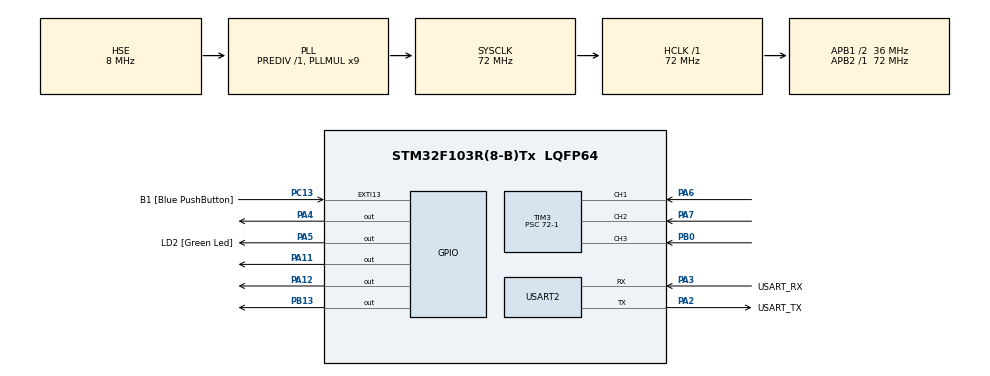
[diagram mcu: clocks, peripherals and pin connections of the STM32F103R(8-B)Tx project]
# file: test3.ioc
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Mcu.Family=STM32F1
Mcu.Name=STM32F103R(8-B)Tx
Mcu.Package=LQFP64
NVIC.EXTI15_10_IRQn=true\:0\:0\:false\:false\:true\:true\:true\:true
NVIC.PriorityGroup=NVIC_PRIORITYGROUP_4
NVIC.TIM1_UP_IRQn=true\:0\:0\:false\:false\:true\:true\:true\:true
NVIC.TIM3_IRQn=true\:0\:0\:false\:false\:true\:true\:true\:true
PA11.Signal=GPIO_Output
PA12.Signal=GPIO_Output
PA13.GPIO_Label=TMS
PA13.Mode=Serial_Wire
PA13.Signal=SYS_JTMS-SWDIO
PA14.GPIO_Label=TCK
PA14.Mode=Serial_Wire
PA14.Signal=SYS_JTCK-SWCLK
PA2.GPIO_Label=USART_TX
PA2.GPIO_Mode=GPIO_MODE_AF_PP
PA2.GPIO_PuPd=GPIO_NOPULL
PA2.GPIO_Speed=GPIO_SPEED_FREQ_LOW
PA2.Mode=Asynchronous
PA2.Signal=USART2_TX
PA3.GPIO_Label=USART_RX
PA3.GPIO_Mode=GPIO_MODE_AF_PP
PA3.GPIO_PuPd=GPIO_NOPULL
PA3.GPIO_Speed=GPIO_SPEED_FREQ_LOW
PA3.Mode=Asynchronous
PA3.Signal=USART2_RX
PA4.Signal=GPIO_Output
PA5.GPIO_Label=LD2 [Green Led]
PA5.GPIO_ModeDefaultOutputPP=GPIO_MODE_OUTPUT_PP
PA5.GPIO_PuPd=GPIO_NOPULL
PA5.GPIO_Speed=GPIO_SPEED_FREQ_LOW
PA5.Signal=GPIO_Output
PA6.Signal=S_TIM3_CH1
PA7.Signal=S_TIM3_CH2
PB0.Signal=S_TIM3_CH3
PB13.Signal=GPIO_Output
PB3.GPIO_Label=SWO
PB3.Signal=SYS_JTDO-TRACESWO
PC13-TAMPER-RTC.GPIO_Label=B1 [Blue PushButton]
PC13-TAMPER-RTC.GPIO_PuPd=GPIO_NOPULL
PC13-TAMPER-RTC.Signal=GPXTI13
PC14-OSC32_IN.Mode=LSE-External-Oscillator
PC14-OSC32_IN.Signal=RCC_OSC32_IN
PC15-OSC32_OUT.Mode=LSE-External-Oscillator
PC15-OSC32_OUT.Signal=RCC_OSC32_OUT
PD0-OSC_IN.Mode=HSE-External-Clock-Source
PD0-OSC_IN.Signal=RCC_OSC_IN
PD1-OSC_OUT.Mode=HSE-External-Clock-Source
PD1-OSC_OUT.Signal=RCC_OSC_OUT
ProjectManager.HeapSize=0x200
ProjectManager.StackSize=0x400
ProjectManager.TargetToolchain=STM32CubeIDE
RCC.AHBFreq_Value=72000000
RCC.APB1CLKDivider=RCC_HCLK_DIV2
RCC.APB1Freq_Value=36000000
RCC.APB1TimFreq_Value=72000000
RCC.APB2Freq_Value=72000000
RCC.APB2TimFreq_Value=72000000
RCC.HCLKFreq_Value=72000000
RCC.PLLMUL=RCC_PLL_MUL9
RCC.PLLSourceVirtual=RCC_PLLSOURCE_HSE
RCC.RTCClockSelection=RCC_RTCCLKSOURCE_LSE
RCC.SYSCLKFreq_VALUE=72000000
RCC.SYSCLKSource=RCC_SYSCLKSOURCE_PLLCLK
RCC.USBFreq_Value=72000000
SH.S_TIM3_CH1.0=TIM3_CH1,Input_Capture1_from_TI1
SH.S_TIM3_CH2.0=TIM3_CH2,Input_Capture2_from_TI2
SH.S_TIM3_CH3.0=TIM3_CH3,Input_Capture3_from_TI3
TIM1.Period=1000-1
TIM1.Prescaler=72-1
TIM3.Channel-Input_Capture1_from_TI1=TIM_CHANNEL_1
TIM3.Channel-Input_Capture2_from_TI2=TIM_CHANNEL_2
TIM3.Channel-Input_Capture3_from_TI3=TIM_CHANNEL_3
TIM3.Prescaler=72-1
USART2.VirtualMode=VM_ASYNC
VP_TIM1_VS_ClockSourceINT.Mode=Internal
VP_TIM3_VS_ClockSourceINT.Mode=Internal
board=NUCLEO-F103RB

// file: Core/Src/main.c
/* USER CODE BEGIN Header */
/**
  ******************************************************************************
  * @file           : main.c
  * @brief          : Main program body
  ******************************************************************************
  * @attention
  *
  * Copyright (c) 2025 STMicroelectronics.
  * All rights reserved.
  *
  * This software is licensed under terms that can be found in the LICENSE file
  * in the root directory of this software component.
  * If no LICENSE file comes with this software, it is provided AS-IS.
  *
  ******************************************************************************
  */
/* USER CODE END Header */
#include "main.h"
#include "tim.h"
#include "usart.h"
#include "gpio.h"

/* USER CODE BEGIN PV */
uint32_t IC_Val1 = 0;
uint32_t IC_Val2 = 0;
uint32_t IC_Val3 = 0;
uint32_t IC_Val4 = 0;
uint32_t IC_Val5 = 0;
uint32_t IC_Val6 = 0;
uint32_t Difference1 = 0;
uint32_t Difference2 = 0;
uint32_t Difference3 = 0;
uint8_t Is_First_Captured1 = 0;
uint8_t Is_First_Captured2 = 0;
uint8_t Is_First_Captured3 = 0;
uint8_t Distance1  = 0;
uint8_t Distance2 = 0;
uint8_t Distance3 = 0;

uint8_t sensor_part1 = 0;
uint8_t sensor_part2 = 0;
uint32_t delay_count = 0;
uint8_t ultra_delay = 0;
uint8_t ultra_state = 0;
/* USER CODE END PV */

void SystemClock_Config(void);

/* USER CODE BEGIN 0 */
//ISR of us단위 Delay
void HAL_TIM_PeriodElapsedCallback(TIM_HandleTypeDef *htim) {
	if (htim->Instance == TIM1) {
		if (ultra_delay == 1) {
			ultra_state = 1;
			ultra_delay = 0;
		}
		else if (sensor_part2 == 1) {
			delay_count++;
		}
		else if (sensor_part1 == 1) {
			delay_count++;
		}
	}
}

//Ultrasonic Echo ISR
void HAL_TIM_IC_CaptureCallback(TIM_HandleTypeDef *htim)
{
	if (htim->Channel == HAL_TIM_ACTIVE_CHANNEL_1)
	{
		if (Is_First_Captured1==0)
		{
			IC_Val1 = HAL_TIM_ReadCapturedValue(htim, TIM_CHANNEL_1);
			Is_First_Captured1 = 1;

			__HAL_TIM_SET_CAPTUREPOLARITY(htim, TIM_CHANNEL_1, TIM_INPUTCHANNELPOLARITY_FALLING);
		}

		else if (Is_First_Captured1==1)
		{
			IC_Val2 = HAL_TIM_ReadCapturedValue(htim, TIM_CHANNEL_1);
			__HAL_TIM_SET_COUNTER(htim, 0);

			if (IC_Val2 > IC_Val1)
			{
				Difference1 = IC_Val2-IC_Val1;
			}

			else if (IC_Val1 > IC_Val2)
			{
				Difference1 = (0xffff - IC_Val1) + IC_Val2;
			}

			Distance1 = Difference1 * .034/2;
			Is_First_Captured1 = 0;

			__HAL_TIM_SET_CAPTUREPOLARITY(htim, TIM_CHANNEL_1, TIM_INPUTCHANNELPOLARITY_RISING);
			__HAL_TIM_DISABLE_IT(&htim3, TIM_IT_CC1);
		}
	}

	if (htim->Channel == HAL_TIM_ACTIVE_CHANNEL_2)
	{
		if (Is_First_Captured2==0)
		{
			IC_Val3 = HAL_TIM_ReadCapturedValue(htim, TIM_CHANNEL_2);
			Is_First_Captured2 = 1;

			__HAL_TIM_SET_CAPTUREPOLARITY(htim, TIM_CHANNEL_2, TIM_INPUTCHANNELPOLARITY_FALLING);
		}

		else if (Is_First_Captured2==1)
		{
			IC_Val4 = HAL_TIM_ReadCapturedValue(htim, TIM_CHANNEL_2);
			__HAL_TIM_SET_COUNTER(htim, 0);

			if (IC_Val4 > IC_Val3)
			{
				Difference2 = IC_Val4 - IC_Val3;
			}

			else if (IC_Val3 > IC_Val4)
			{
				Difference2 = (0xffff - IC_Val3) + IC_Val4;
			}

			Distance2 = Difference2 * .034/2;
			Is_First_Captured2 = 0;

			__HAL_TIM_SET_CAPTUREPOLARITY(htim, TIM_CHANNEL_2, TIM_INPUTCHANNELPOLARITY_RISING);
			__HAL_TIM_DISABLE_IT(&htim3, TIM_IT_CC2);
		}
	}

	if (htim->Channel == HAL_TIM_ACTIVE_CHANNEL_3)
	{
		if (Is_First_Captured3==0)
		{
			IC_Val5 = HAL_TIM_ReadCapturedValue(htim, TIM_CHANNEL_3);
			Is_First_Captured3 = 1;

			__HAL_TIM_SET_CAPTUREPOLARITY(htim, TIM_CHANNEL_3, TIM_INPUTCHANNELPOLARITY_FALLING);
		}

		else if (Is_First_Captured3==1)
		{
			IC_Val6 = HAL_TIM_ReadCapturedValue(htim, TIM_CHANNEL_3);
			__HAL_TIM_SET_COUNTER(htim, 0);

			if (IC_Val6 > IC_Val5)
			{
				Difference3 = IC_Val6 - IC_Val5;
			}

			else if (IC_Val5 > IC_Val6)
			{
				Difference3 = (0xffff - IC_Val5) + IC_Val6;
			}

			Distance3 = Difference3 * .034/2;
			Is_First_Captured3 = 0;

			__HAL_TIM_SET_CAPTUREPOLARITY(htim, TIM_CHANNEL_3, TIM_INPUTCHANNELPOLARITY_RISING);
			__HAL_TIM_DISABLE_IT(&htim3, TIM_IT_CC3);
		}
	}
}

//Ultrasonic trig_1
void HCSR04_Read1 (void)
{
	HAL_GPIO_WritePin(GPIOA, GPIO_PIN_12, GPIO_PIN_SET);
	HAL_GPIO_WritePin(GPIOA, GPIO_PIN_4, GPIO_PIN_SET);

	ultra_delay = 1;
	if (ultra_state == 1) {
		HAL_GPIO_WritePin(GPIOA, GPIO_PIN_12, GPIO_PIN_RESET);
		HAL_GPIO_WritePin(GPIOA, GPIO_PIN_4, GPIO_PIN_RESET);
		__HAL_TIM_ENABLE_IT(&htim3, TIM_IT_CC1);
		__HAL_TIM_ENABLE_IT(&htim3, TIM_IT_CC3);
		ultra_state = 0;
	}
}

//Ultrasonic trig_2
void HCSR04_Read2 (void)
{
	HAL_GPIO_WritePin(GPIOA, GPIO_PIN_11, GPIO_PIN_SET);

	ultra_delay = 1;
	if (ultra_state == 1) {
		HAL_GPIO_WritePin(GPIOA, GPIO_PIN_11, GPIO_PIN_RESET);
		__HAL_TIM_ENABLE_IT(&htim3, TIM_IT_CC2);
		ultra_state = 0;
	}
}
/* USER CODE END 0 */

int main(void)
{

  /* MCU Configuration--------------------------------------------------------*/

  /* Reset of all peripherals, Initializes the Flash interface and the Systick. */
  HAL_Init();

  /* Configure the system clock */
  SystemClock_Config();

  /* Initialize all configured peripherals */
  MX_GPIO_Init();
  MX_USART2_UART_Init();
  MX_TIM1_Init();
  MX_TIM3_Init();
  /* USER CODE BEGIN 2 */
  HAL_TIM_IC_Start_IT(&htim3, TIM_CHANNEL_1);
  HAL_TIM_IC_Start_IT(&htim3, TIM_CHANNEL_2);
  HAL_TIM_IC_Start_IT(&htim3, TIM_CHANNEL_3);
  HAL_TIM_Base_Start_IT(&htim1);

  sensor_part2 = 1;
  /* USER CODE END 2 */

  /* Infinite loop */
  while (1)
  {

    /* USER CODE BEGIN 3 */
	  if (sensor_part2 == 1 && delay_count == 60) {
		  sensor_part2 = 0;
		  delay_count = 0;
		  HCSR04_Read1();
		  sensor_part1 = 1;
	  }

	  if (sensor_part1 == 1 && delay_count == 60) {
		  sensor_part1 = 0;
		  delay_count = 0;
		  HCSR04_Read2();
		  sensor_part2 = 1;
	  }

	  if (Distance1 < 10 || Distance2 < 10 || Distance3 < 10) {
		  HAL_GPIO_WritePin(GPIOB, GPIO_PIN_13, GPIO_PIN_SET);
	  }
	  else {
		  HAL_GPIO_WritePin(GPIOB, GPIO_PIN_13, GPIO_PIN_RESET);
	  }

  }
  /* USER CODE END 3 */
}

void SystemClock_Config(void)
{
  RCC_OscInitTypeDef RCC_OscInitStruct = {0};
  RCC_ClkInitTypeDef RCC_ClkInitStruct = {0};

  /** Initializes the RCC Oscillators according to the specified parameters
  * in the RCC_OscInitTypeDef structure.
  */
  RCC_OscInitStruct.OscillatorType = RCC_OSCILLATORTYPE_HSE;
  RCC_OscInitStruct.HSEState = RCC_HSE_BYPASS;
  RCC_OscInitStruct.HSEPredivValue = RCC_HSE_PREDIV_DIV1;
  RCC_OscInitStruct.HSIState = RCC_HSI_ON;
  RCC_OscInitStruct.PLL.PLLState = RCC_PLL_ON;
  RCC_OscInitStruct.PLL.PLLSource = RCC_PLLSOURCE_HSE;
  RCC_OscInitStruct.PLL.PLLMUL = RCC_PLL_MUL9;
  if (HAL_RCC_OscConfig(&RCC_OscInitStruct) != HAL_OK)
  {
    Error_Handler();
  }

  /** Initializes the CPU, AHB and APB buses clocks
  */
  RCC_ClkInitStruct.ClockType = RCC_CLOCKTYPE_HCLK|RCC_CLOCKTYPE_SYSCLK
                              |RCC_CLOCKTYPE_PCLK1|RCC_CLOCKTYPE_PCLK2;
  RCC_ClkInitStruct.SYSCLKSource = RCC_SYSCLKSOURCE_PLLCLK;
  RCC_ClkInitStruct.AHBCLKDivider = RCC_SYSCLK_DIV1;
  RCC_ClkInitStruct.APB1CLKDivider = RCC_HCLK_DIV2;
  RCC_ClkInitStruct.APB2CLKDivider = RCC_HCLK_DIV1;

  if (HAL_RCC_ClockConfig(&RCC_ClkInitStruct, FLASH_LATENCY_2) != HAL_OK)
  {
    Error_Handler();
  }
}

void Error_Handler(void)
{
  __disable_irq();
  while (1)
  {
  }
}
